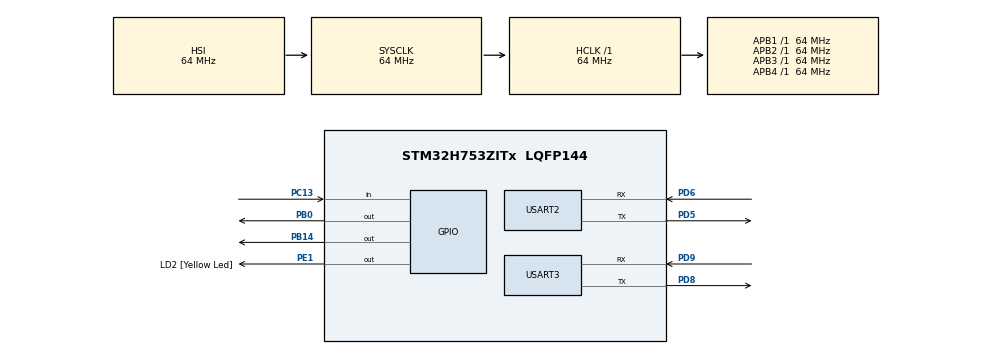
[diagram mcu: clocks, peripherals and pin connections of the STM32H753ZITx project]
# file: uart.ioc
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CORTEX_M7.CPU_DCache=Disabled
CORTEX_M7.CPU_ICache=Disabled
CORTEX_M7.MPU_Control=__NULL
CORTEX_M7.default_mode_Activation=1
Mcu.Family=STM32H7
Mcu.Name=STM32H753ZITx
Mcu.Package=LQFP144
NUCLEO-H753ZI.BUTTON=1
NUCLEO-H753ZI.LD1=true
NUCLEO-H753ZI.LD2=true
NUCLEO-H753ZI.LD3=true
NUCLEO-H753ZI.VCP=false
NVIC.EXTI15_10_IRQn=true\:0\:0\:false\:false\:true\:false\:true\:true
NVIC.PriorityGroup=NVIC_PRIORITYGROUP_4
PB0.Signal=GPIO_Output
PB14.Signal=GPIO_Output
PC13.Signal=GPIO_Input
PC14-OSC32_IN\ (OSC32_IN).Signal=RCC_OSC32_IN
PC15-OSC32_OUT\ (OSC32_OUT).Signal=RCC_OSC32_OUT
PD5.Mode=Asynchronous
PD5.Signal=USART2_TX
PD6.Mode=Asynchronous
PD6.Signal=USART2_RX
PD8.Mode=Asynchronous
PD8.Signal=USART3_TX
PD9.Mode=Asynchronous
PD9.Signal=USART3_RX
PE1.GPIO_Label=LD2 [Yellow Led]
PE1.Signal=GPIO_Output
PH0-OSC_IN\ (PH0).Signal=RCC_OSC_IN
PH1-OSC_OUT\ (PH1).Signal=RCC_OSC_OUT
ProjectManager.HeapSize=0x200
ProjectManager.StackSize=0x400
ProjectManager.TargetToolchain=Makefile
RCC.ADCFreq_Value=129000000
RCC.APB1Freq_Value=64000000
RCC.APB2Freq_Value=64000000
RCC.APB3Freq_Value=64000000
RCC.APB4Freq_Value=64000000
RCC.CortexFreq_Value=64000000
RCC.DIVM1=1
RCC.DIVN1=24
RCC.DIVQ1=4
RCC.HCLKFreq_Value=64000000
RCC.HSE_VALUE=8000000
RCC.PLLFRACN=0
RCC.PWR_Regulator_Voltage_Scale=PWR_REGULATOR_VOLTAGE_SCALE2
RCC.SYSCLKFreq_VALUE=64000000
RCC.USBFreq_Value=384000000
USART2.VirtualMode-Asynchronous=VM_ASYNC
USART3.VirtualMode-Asynchronous=VM_ASYNC
VP_MEMORYMAP_VS_MEMORYMAP.Mode=CurAppReg
VP_NUCLEO-H753ZI_VS_BSP_COMMON.Mode=COMMON
board=NUCLEO-H753ZI

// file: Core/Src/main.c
/* USER CODE BEGIN Header */
/**
  ******************************************************************************
  * @file           : main.c
  * @brief          : Main program body
  ******************************************************************************
  * @attention
  *
  * Copyright (c) 2025 STMicroelectronics.
  * All rights reserved.
  *
  * This software is licensed under terms that can be found in the LICENSE file
  * in the root directory of this software component.
  * If no LICENSE file comes with this software, it is provided AS-IS.
  *
  ******************************************************************************
  */
/* USER CODE END Header */
#include "main.h"

/* USER CODE BEGIN Includes */
#include "string.h"
#include <stdint.h>
#include <stdbool.h>
#include <stddef.h>
#include <stdio.h>
#include "stm32h7xx_hal_conf.h"

#include "crc32.h"
/* USER CODE END Includes */

UART_HandleTypeDef huart2;
UART_HandleTypeDef huart3;

void SystemClock_Config(void);
static void MX_GPIO_Init(void);
static void MX_USART2_UART_Init(void);
static void MX_USART3_UART_Init(void);

/* USER CODE BEGIN PFP */
void PrintTerm(const uint8_t* msg);
void blinkLED(int n);
bool waitForACK();
/* USER CODE END PFP */

/* USER CODE BEGIN 0 */
#define MAX_RETRIES 2
#define ACK_TIMEOUT_MS 2000
#define MAX_REPLY_LEN  6
#define RX_FRAME_TIMEOUT  1000

#define BUF_SZ 256
static uint8_t tx_buf[BUF_SZ];   // buffer for PC->Board
static uint8_t rx_buf[BUF_SZ];   // buffer for Board->PC
static uint16_t tx_len = 0;
static uint16_t rx_len = 0;
const uint8_t newline = '\n';
static uint32_t  last_rx_tick = 0;
uint8_t ACK = 0xFF;
uint8_t NACK = 0x00;

uint8_t* NonEmpty = "Msg must contain content\n\r";
static volatile bool waiting_for_ack = false;
/* USER CODE END 0 */

int main(void)
{

  /* MCU Configuration--------------------------------------------------------*/

  /* Reset of all peripherals, Initializes the Flash interface and the Systick. */
  HAL_Init();

  /* Configure the system clock */
  SystemClock_Config();

  /* Initialize all configured peripherals */
  MX_GPIO_Init();
  MX_USART2_UART_Init();
  MX_USART3_UART_Init();
  /* USER CODE BEGIN 2 */
  PrintTerm((const uint8_t *)"UART Chat Ready\r\n");
  /* USER CODE END 2 */

  // const uint8_t * msg = "Testing\n";
  // HAL_UART_Transmit(&huart2, (uint8_t*)msg, 9, 100);

  // /* Initialize leds */
  // BSP_LED_Init(LED_GREEN);
  // BSP_LED_Init(LED_BLUE);
  // BSP_LED_Init(LED_RED);

  // /* Initialize USER push-button, will be used to trigger an interrupt each time it's pressed.*/
  // BSP_PB_Init(BUTTON_USER, BUTTON_MODE_EXTI);

  /* Infinite loop */
  /* USER CODE BEGIN WHILE */
  memset(tx_buf, 0, BUF_SZ);
  memset(rx_buf, 0, BUF_SZ);

  while (1)
  {
    uint8_t ch;

    // input form pc and transmitt
    if (HAL_UART_Receive(&huart3, &ch, 1, 100) == HAL_OK)
    {
      // echo
      HAL_UART_Transmit(&huart3, &ch, 1, HAL_MAX_DELAY);

      tx_buf[tx_len++] = ch;

      if (ch == '\r')
      {
        if (tx_len <= 1)
        {
          HAL_UART_Transmit(&huart3, (uint8_t*)NonEmpty, strlen(NonEmpty), 100);
          tx_len = 0;
          continue;
        }

        tx_len -= 1;
        CRC32_Append(tx_buf, &tx_len);
        tx_buf[tx_len++] = '\n';
        // show msg to be sent for comparison.
        HAL_UART_Transmit(&huart3, (uint8_t*)"\r\n", 2, 100);
        HAL_UART_Transmit(&huart3, (uint8_t*)"(1) Sending: ", 13, 100);
        HAL_UART_Transmit(&huart3, tx_buf, tx_len, 100);
        HAL_UART_Transmit(&huart3, (uint8_t*)"\n\r", 2, 100);

        // FlipBit to test if CRC works
        // FlipBit(tx_buf, tx_len, 2, 1);

        waiting_for_ack = true;

        HAL_UART_Transmit(&huart2, tx_buf, tx_len, 100);
        for (uint16_t attempt = 1; attempt <= MAX_RETRIES; attempt++)
        {
          if (waitForACK())
          {
            blinkLED(3);
            break;
          }
          uint16_t i = attempt + 1;
          char sending[13];
          sprintf(sending, "Retry (%d)\n\r", i);

          HAL_UART_Transmit(&huart3, (uint8_t*)sending, 11, 100);
          HAL_UART_Transmit(&huart2, tx_buf, tx_len, 100); // send msg again

          if (!waitForACK() && attempt == MAX_RETRIES) {
            PrintTerm((const uint8_t *)"SEND FAILED\r\n");
          }
        }

        waiting_for_ack = false;
        tx_len = 0;
        // memset(tx_buf, 0, BUF_SZ);
      }
    }

    uint8_t chrx;
    // recive form board and print
    if (!waiting_for_ack && HAL_UART_Receive(&huart2, &chrx, 1, 10) == HAL_OK)
    {
      uint32_t now = HAL_GetTick();
      if (rx_len > 0 && (now - last_rx_tick) > RX_FRAME_TIMEOUT) {
          rx_len = 0; // reset buffer if 16B internal FiFo is overfull.
      }
      last_rx_tick = now;
      /* transmit in 16B blocks to allow longer msgs. */
      // retransmit after time out but other board just verry slow. Then other board says ACK but already retransmitt. Maybe just dont retransmit on time out.
      // Store the new byte
      if (rx_len < BUF_SZ) {
        rx_buf[rx_len++] = chrx;
      }

      if (chrx == '\n' || chrx == '\r')
      {
        uint16_t payload_len;

        if (CRC32_ValidateFrame(rx_buf, rx_len, '\n', &payload_len))
        {
            // send only the payload bytes (no CRC, no delim)
            HAL_UART_Transmit(&huart3, (uint8_t*)"No CRC Error\n\r> ", 16, HAL_MAX_DELAY);
            HAL_UART_Transmit(&huart3, rx_buf, payload_len, HAL_MAX_DELAY);
            HAL_UART_Transmit(&huart3, (uint8_t*)"\r\n", 2, HAL_MAX_DELAY);

            HAL_UART_Transmit(&huart3, (uint8_t*)"Sending ACK\n\r", 16, 100);
            HAL_UART_Transmit(&huart2, &ACK, 1, HAL_MAX_DELAY);
        }
        else
        {
            // bad packet
            HAL_UART_Transmit(&huart3, (uint8_t*)"CRC ERROR\r\n", 11, HAL_MAX_DELAY);
            HAL_UART_Transmit(&huart3, rx_buf, rx_len, HAL_MAX_DELAY); // rem later just to see errors for now

            HAL_UART_Transmit(&huart3, (uint8_t*)"\r\n", 2, 100);
            HAL_UART_Transmit(&huart3, (uint8_t*)"Sending ACK\n\r", 16, 100);
            HAL_UART_Transmit(&huart2, &NACK, 1, HAL_MAX_DELAY);
        }

        rx_len = 0;
        // memset(rx_buf, 0, BUF_SZ);
      }
    }
    /* USER CODE END WHILE */

  }
}

void blinkLED(int n) {
  for (size_t i = 0; i < n; i++)
  {
    HAL_GPIO_TogglePin(GPIOB, GPIO_PIN_0);
    HAL_Delay(100);
    HAL_GPIO_TogglePin(GPIOB, GPIO_PIN_0);
    HAL_Delay(100);
  }
}

void PrintTerm(const uint8_t *msg)
{
    HAL_UART_Transmit(&huart3, (uint8_t *)msg, strlen((const char *)msg), HAL_MAX_DELAY);
}

bool waitForACK(void)
{
    //uint16_t idx = 0;
    uint32_t start = HAL_GetTick();
    uint8_t ch;

    // Read until newline or timeout
    while ((HAL_GetTick() - start) < ACK_TIMEOUT_MS)
    {
        if (HAL_UART_Receive(&huart2, &ch, 1, 10) == HAL_OK){
        }
    }

    // Compare full string
    if (ch == ACK)
    {
        PrintTerm((const uint8_t *)"ACK received\r\n");
        return true;
    }
    else if (ch == NACK)
    {
        PrintTerm((const uint8_t*)"NACK recived\r\n");
        return false;
    }
    // timeout or garbage → treat as failure
    return false;
}

void SystemClock_Config(void)
{
  RCC_OscInitTypeDef RCC_OscInitStruct = {0};
  RCC_ClkInitTypeDef RCC_ClkInitStruct = {0};

  /** Supply configuration update enable
  */
  HAL_PWREx_ConfigSupply(PWR_LDO_SUPPLY);

  /** Configure the main internal regulator output voltage
  */
  __HAL_PWR_VOLTAGESCALING_CONFIG(PWR_REGULATOR_VOLTAGE_SCALE2);

  while(!__HAL_PWR_GET_FLAG(PWR_FLAG_VOSRDY)) {}

  /** Initializes the RCC Oscillators according to the specified parameters
  * in the RCC_OscInitTypeDef structure.
  */
  RCC_OscInitStruct.OscillatorType = RCC_OSCILLATORTYPE_HSI;
  RCC_OscInitStruct.HSIState = RCC_HSI_DIV1;
  RCC_OscInitStruct.HSICalibrationValue = RCC_HSICALIBRATION_DEFAULT;
  RCC_OscInitStruct.PLL.PLLState = RCC_PLL_NONE;
  if (HAL_RCC_OscConfig(&RCC_OscInitStruct) != HAL_OK)
  {
    Error_Handler();
  }

  /** Initializes the CPU, AHB and APB buses clocks
  */
  RCC_ClkInitStruct.ClockType = RCC_CLOCKTYPE_HCLK|RCC_CLOCKTYPE_SYSCLK
                              |RCC_CLOCKTYPE_PCLK1|RCC_CLOCKTYPE_PCLK2
                              |RCC_CLOCKTYPE_D3PCLK1|RCC_CLOCKTYPE_D1PCLK1;
  RCC_ClkInitStruct.SYSCLKSource = RCC_SYSCLKSOURCE_HSI;
  RCC_ClkInitStruct.SYSCLKDivider = RCC_SYSCLK_DIV1;
  RCC_ClkInitStruct.AHBCLKDivider = RCC_HCLK_DIV1;
  RCC_ClkInitStruct.APB3CLKDivider = RCC_APB3_DIV1;
  RCC_ClkInitStruct.APB1CLKDivider = RCC_APB1_DIV1;
  RCC_ClkInitStruct.APB2CLKDivider = RCC_APB2_DIV1;
  RCC_ClkInitStruct.APB4CLKDivider = RCC_APB4_DIV1;

  if (HAL_RCC_ClockConfig(&RCC_ClkInitStruct, FLASH_LATENCY_1) != HAL_OK)
  {
    Error_Handler();
  }
}

static void MX_USART2_UART_Init(void)
{

  huart2.Instance = USART2;
  huart2.Init.BaudRate = 115200;
  huart2.Init.WordLength = UART_WORDLENGTH_8B;
  huart2.Init.StopBits = UART_STOPBITS_1;
  huart2.Init.Parity = UART_PARITY_NONE;
  huart2.Init.Mode = UART_MODE_TX_RX;
  huart2.Init.HwFlowCtl = UART_HWCONTROL_NONE;
  huart2.Init.OverSampling = UART_OVERSAMPLING_16;
  huart2.Init.OneBitSampling = UART_ONE_BIT_SAMPLE_DISABLE;
  huart2.Init.ClockPrescaler = UART_PRESCALER_DIV1;
  huart2.AdvancedInit.AdvFeatureInit = UART_ADVFEATURE_NO_INIT;
  if (HAL_UART_Init(&huart2) != HAL_OK)
  {
    Error_Handler();
  }
  if (HAL_UARTEx_SetTxFifoThreshold(&huart2, UART_TXFIFO_THRESHOLD_1_8) != HAL_OK)
  {
    Error_Handler();
  }
  if (HAL_UARTEx_SetRxFifoThreshold(&huart2, UART_RXFIFO_THRESHOLD_1_8) != HAL_OK)
  {
    Error_Handler();
  }
  if (HAL_UARTEx_EnableFifoMode(&huart2) != HAL_OK)
  {
    Error_Handler();
  }

}

static void MX_USART3_UART_Init(void)
{

  huart3.Instance = USART3;
  huart3.Init.BaudRate = 115200;
  huart3.Init.WordLength = UART_WORDLENGTH_8B;
  huart3.Init.StopBits = UART_STOPBITS_1;
  huart3.Init.Parity = UART_PARITY_NONE;
  huart3.Init.Mode = UART_MODE_TX_RX;
  huart3.Init.HwFlowCtl = UART_HWCONTROL_NONE;
  huart3.Init.OverSampling = UART_OVERSAMPLING_16;
  huart3.Init.OneBitSampling = UART_ONE_BIT_SAMPLE_DISABLE;
  huart3.Init.ClockPrescaler = UART_PRESCALER_DIV1;
  huart3.AdvancedInit.AdvFeatureInit = UART_ADVFEATURE_NO_INIT;
  if (HAL_UART_Init(&huart3) != HAL_OK)
  {
    Error_Handler();
  }
  if (HAL_UARTEx_SetTxFifoThreshold(&huart3, UART_TXFIFO_THRESHOLD_1_8) != HAL_OK)
  {
    Error_Handler();
  }
  if (HAL_UARTEx_SetRxFifoThreshold(&huart3, UART_RXFIFO_THRESHOLD_1_8) != HAL_OK)
  {
    Error_Handler();
  }
  if (HAL_UARTEx_DisableFifoMode(&huart3) != HAL_OK)
  {
    Error_Handler();
  }

}

static void MX_GPIO_Init(void)
{
  GPIO_InitTypeDef GPIO_InitStruct = {0};

  /* GPIO Ports Clock Enable */
  __HAL_RCC_GPIOC_CLK_ENABLE();
  __HAL_RCC_GPIOH_CLK_ENABLE();
  __HAL_RCC_GPIOD_CLK_ENABLE();
  __HAL_RCC_GPIOE_CLK_ENABLE();

  /*Configure GPIO pin Output Level */
  HAL_GPIO_WritePin(LD2_GPIO_Port, LD2_Pin, GPIO_PIN_RESET);

  /*Configure GPIO pin : LD2_Pin */
  GPIO_InitStruct.Pin = LD2_Pin;
  GPIO_InitStruct.Mode = GPIO_MODE_OUTPUT_PP;
  GPIO_InitStruct.Pull = GPIO_NOPULL;
  GPIO_InitStruct.Speed = GPIO_SPEED_FREQ_LOW;
  HAL_GPIO_Init(LD2_GPIO_Port, &GPIO_InitStruct);

}

void Error_Handler(void)
{
  __disable_irq();
  while (1)
  {
  }
}
